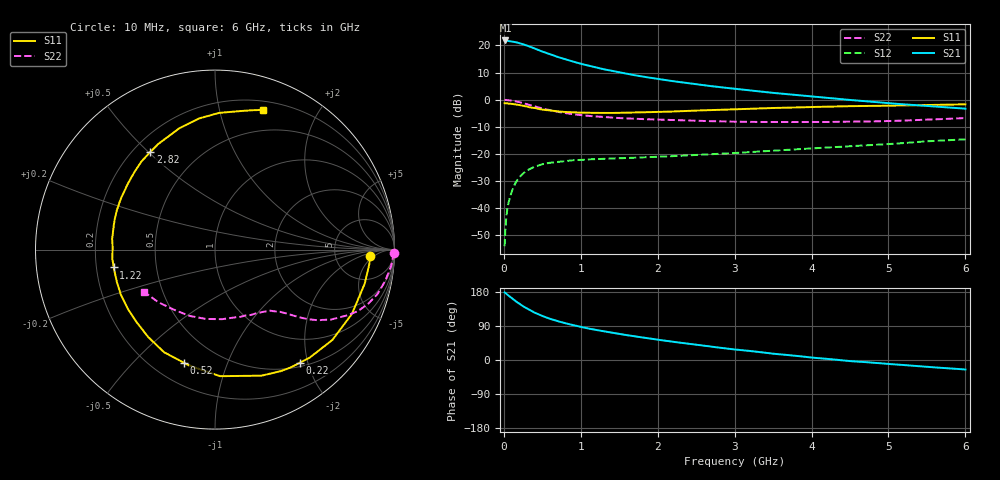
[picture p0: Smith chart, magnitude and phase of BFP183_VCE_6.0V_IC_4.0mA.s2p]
! Infineon Technologies  Discrete & RF Semiconductors
! BFP183
! VCE = 6.0 V,  IC =  4.0 mA
! Common Emitter S-Parameters:  Jan 2016
# GHz  S  MA  R  50
!  f  S11  S21  S12  S22
! GHz  MAG  ANG  MAG  ANG  MAG  ANG  MAG  ANG
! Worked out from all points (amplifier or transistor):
!   210 points, 10 MHz to 6 GHz, reference 50 ohm
!   highest |S21| = 21.9 dB at 20 MHz (marker M1)
!   |S21| within 3 dB of that: start of sweep to 402.8 MHz
!   unconditionally stable (mu >= 1): 1.753 GHz to 5.728 GHz
!   at 185 MHz: K = 0.13, MSG = 25.1 dB, |S12| = -29.2 dB
!   at 1.52 GHz: K = 0.90, MSG = 15.8 dB, |S12| = -21.5 dB
!   at 6 GHz: K = 0.94, MSG = 5.7 dB, |S12| = -14.6 dB
!   S11 on the Smith chart (normalised r, x): 10 MHz: 13, -4; 220 MHz: 0.56, -1.87; 520 MHz: 0.32, -0.71; 1.22 GHz: 0.27, -0.08; 2.82 GHz: 0.27, +0.51; 6 GHz: 0.28, +1.36
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0.01  0.8653 -2.5  12.32 178.4  0.002 87.0  0.9959 -1.0
0.02  0.8639 -5.2  12.38 177.0  0.0041 84.2  0.9931 -2.2
0.055  0.8525 -14.0  12.19 170.8  0.0116 83.9  0.9834 -5.8
0.15  0.8253 -37.6  11.58 155.7  0.029 70.0  0.9393 -15.2
0.2  0.8004 -48.8  11.11 148.4  0.0371 65.2  0.9066 -19.3
0.22  0.7881 -53.0  10.86 145.8  0.0397 62.5  0.8911 -20.8
0.26  0.7702 -61.5  10.41 140.6  0.0449 58.2  0.8604 -23.7
0.32  0.7347 -73.1  9.746 133.9  0.0513 53.5  0.812 -27.1
0.4  0.7058 -87.7  8.801 124.9  0.0584 47.9  0.7544 -31.1
0.52  0.6539 -105.3  7.56 114.6  0.0656 41.0  0.6821 -35.1
0.6  0.6384 -116.4  6.94 108.6  0.0689 37.6  0.6406 -37.1
0.7  0.6128 -127.5  6.147 102.4  0.0717 34.3  0.5986 -38.9
0.8  0.5947 -137.6  5.587 96.8  0.0741 31.9  0.5668 -40.3
1.02  0.5796 -156.0  4.531 86.6  0.0779 28.5  0.5179 -42.7
1.22  0.5726 -170.0  3.872 78.6  0.0806 26.3  0.4896 -44.9
1.52  0.5761 173.0  3.171 68.0  0.0837 25.8  0.4581 -48.0
2.02  0.5974 150.4  2.392 53.0  0.0892 25.9  0.4299 -54.7
2.82  0.6529 123.4  1.702 32.1  0.1009 27.2  0.4009 -69.2
3.1  0.6729 115.8  1.54 25.9  0.1064 27.9  0.3922 -75.2
4.1  0.7399 95.1  1.118 4.8  0.1291 27.1  0.3892 -100.1
5.1  0.781 80.7  0.843 -11.8  0.1554 25.0  0.4087 -126.8
6  0.8233 71.0  0.685 -25.1  0.1864 18.7  0.4604 -149.4
